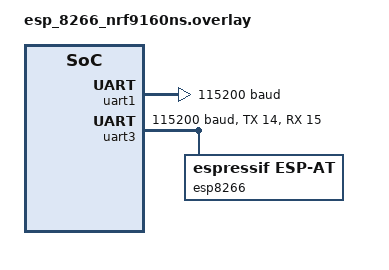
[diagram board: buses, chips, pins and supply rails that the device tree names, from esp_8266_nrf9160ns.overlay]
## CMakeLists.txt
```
#
# Copyright (c) 2020 Nordic Semiconductor
#
# SPDX-License-Identifier: LicenseRef-Nordic-5-Clause
#

cmake_minimum_required(VERSION 3.20.0)

find_package(Zephyr REQUIRED HINTS $ENV{ZEPHYR_BASE})
project(MOSH)
target_include_directories(app PRIVATE
  ${CMAKE_CURRENT_SOURCE_DIR}/src
  ${CMAKE_CURRENT_SOURCE_DIR}/iperf
  ${CMAKE_CURRENT_SOURCE_DIR}/ping
  ${CMAKE_CURRENT_SOURCE_DIR}/utils)

target_sources(app PRIVATE src/main.c)
target_sources(app PRIVATE src/shell.c)
target_sources(app PRIVATE src/at/at_shell.c)

add_subdirectory(src/print)
add_subdirectory(src/utils)
add_subdirectory(src/uart)
add_subdirectory_ifdef(CONFIG_MOSH_WORKER_THREADS src/th)
add_subdirectory_ifdef(CONFIG_MOSH_SOCK src/sock)
add_subdirectory_ifdef(CONFIG_MOSH_LINK src/link)
add_subdirectory_ifdef(CONFIG_MOSH_PING src/ping)
add_subdirectory_ifdef(CONFIG_MOSH_GNSS src/gnss)
add_subdirectory_ifdef(CONFIG_MOSH_SMS src/sms)
add_subdirectory_ifdef(CONFIG_MOSH_LOCATION src/location)
add_subdirectory_ifdef(CONFIG_MOSH_PPP src/ppp)
add_subdirectory_ifdef(CONFIG_MOSH_FOTA src/fota)
add_subdirectory_ifdef(CONFIG_MOSH_REST src/rest)
add_subdirectory_ifdef(CONFIG_MOSH_CLOUD src/cloud)
```

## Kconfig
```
#
# Copyright (c) 2020 Nordic Semiconductor ASA
#
# SPDX-License-Identifier: LicenseRef-Nordic-5-Clause
#

source "Kconfig.zephyr"

menu "Nordic Modem Shell config"

config MOSH_IPERF3
	bool "iPerf3"
	default y
	select NRF_IPERF3

config NRF_IPERF3_PROMPTLESS
	bool
	default y

config MOSH_SOCK
	bool "Socket tool"
	default y
	help
	  Socket tool with TCP, UDP, RAW, IPv4, IPv6 and packet socket support.

config MOSH_PING
	bool "ICMP ping"
	default y
	help
	  Ping is a tool for testing the reachability of a host on an IP network.

config MOSH_LINK
	bool "Link control"
	depends on LTE_LINK_CONTROL
	depends on MODEM_INFO
	depends on SETTINGS
	default y
	help
	  Link control changes and queries the state of the LTE connection.

config MOSH_CURL
	bool "cURL"
	default y
	select NRF_CURL

config NRF_CURL_PROMPTLESS
	bool
	default y

config MOSH_GNSS
	bool "GNSS"
	default y
	help
	  GNSS feature for searching the location of the device.

config MOSH_PPP
	bool "PPP"
	help
	  Point-to-Point Protocol for enabling dial-up access to the Internet.

config MOSH_SMS
	bool "SMS"
	default y
	help
	  SMS tool for sending and receiving SMS messages.

config MOSH_LOCATION
	bool "Location"
	default y
	select LOCATION
	help
	  Tool for location queries via location library.

config MOSH_FOTA
	bool "FOTA"
	default y
	help
	  FOTA for performing software updates over-the-air for both modem and application side.

config MOSH_REST
	bool "REST client"
	default y
	select REST_CLIENT
	help
	  REST client for sending and receiving simple REST requests/responses.

config MOSH_CLOUD
	bool "MQTT connection to nRFCloud"
	select NRF_CLOUD_MQTT
	select NRF_CLOUD_CELL_POS if MULTICELL_LOCATION_SERVICE_NRF_CLOUD
	help
	  MQTT connection to nRFCloud.

config MOSH_PRINT_BUFFER_SIZE
	int "Buffer size used when printing modem shell output"
	default 1024
	help
	  If the printed string exceeds this buffer, an error message is printed first and
	  then the requested string cut into the length of this buffer.

if MOSH_IPERF3
menu "MoSH iperf3 command selections"

config MOSH_WORKER_THREADS
	bool "Possibility to run iperf3 instances in separate threads"
	default y

endmenu
endif #MOSH_IPERF3

if MOSH_LINK
menu "MoSH link control selections"

config MOSH_LINK_SETT_NORMAL_MODE_AT_CMD_STR_LEN
	int "Link settings AT command length"
	default 127
	help
	  String length for custom AT commands stored into settings to be used
	  when going to normal mode.

endmenu
endif #MOSH_LINK

choice MOSH_GNSS_ANTENNA
	depends on MOSH_GNSS
	default MOSH_GNSS_ANTENNA_ONBOARD
	prompt "Select which antenna to use for GNSS"
config MOSH_GNSS_ANTENNA_ONBOARD
	bool "Use onboard antenna"
config MOSH_GNSS_ANTENNA_EXTERNAL
	bool "Use external antenna"

endchoice

config MOSH_AT_MAGPIO
	string "AT%XMAGPIO command"
	default "AT\%XMAGPIO=1,0,0,1,1,1574,1577" if BOARD_NRF9160DK_NRF9160_NS
	default "AT\%XMAGPIO=1,1,1,7,1,746,803,2,698,748,2,1710,2200,3,824,894,4,880,960,5,791,849,7,1565,1586" if BOARD_THINGY91_NRF9160_NS
	help
	  Defines what is the AT%XMAGPIO command to be sent to GNSS module. Leave
	  empty if this command should not be sent.

config MOSH_AT_COEX0
	string "AT%XCOEX0 command"
	default "AT\%XCOEX0=1,1,1565,1586" if (BOARD_NRF9160DK_NRF9160_NS || BOARD_THINGY91_NRF9160_NS) && MOSH_GNSS_ANTENNA_ONBOARD
	default "AT\%XCOEX0" if (BOARD_NRF9160DK_NRF9160_NS || BOARD_THINGY91_NRF9160_NS) && MOSH_GNSS_ANTENNA_EXTERNAL
	help
	  Defines what is the AT%XCOEX0 command to be sent to GNSS module. Leave
	  empty if this command should not be sent.

endmenu # Modem Shell
```

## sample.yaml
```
sample:
  name: modem_shell Sample
tests:
  samples.nrf9160.modem_shell:
    build_only: true
    platform_allow: nrf9160dk_nrf9160_ns
    integration_platforms:
      - nrf9160dk_nrf9160_ns
    tags: ci_build
  samples.nrf9160.modem_shell.ppp:
    build_only: true
    platform_allow: nrf9160dk_nrf9160_ns
    integration_platforms:
      - nrf9160dk_nrf9160_ns
    extra_args: OVERLAY_CONFIG=overlay-ppp.conf
                DTC_OVERLAY_FILE="ppp.overlay"
    tags: ci_build
  samples.nrf9160.modem_shell.esp_wifi:
    build_only: true
    platform_allow: nrf9160dk_nrf9160_ns
    integration_platforms:
      - nrf9160dk_nrf9160_ns
    extra_args: OVERLAY_CONFIG=overlay-esp-wifi.conf
                DTC_OVERLAY_FILE="esp_8266_nrf9160ns.overlay"
    tags: ci_build
  samples.nrf9160.modem_shell.pgps:
    build_only: true
    platform_allow: nrf9160dk_nrf9160_ns
    integration_platforms:
      - nrf9160dk_nrf9160_ns
    extra_args: OVERLAY_CONFIG=overlay-pgps.conf
    tags: ci_build
  samples.nrf9160.modem_shell.fota:
    build_only: true
    platform_allow: nrf9160dk_nrf9160_ns
    integration_platforms:
      - nrf9160dk_nrf9160_ns
    extra_args: OVERLAY_CONFIG=overlay-app_fota.conf
    tags: ci_build
  samples.nrf9160.modem_shell.lwm2m:
    build_only: true
    platform_allow: nrf9160dk_nrf9160_ns
    integration_platforms:
      - nrf9160dk_nrf9160_ns
    extra_args: OVERLAY_CONFIG=overlay-lwm2m_carrier.conf
    tags: ci_build
  samples.nrf9160.modem_shell.thingy91:
    build_only: true
    platform_allow: thingy91_nrf9160_ns
    integration_platforms:
      - thingy91_nrf9160_ns
    tags: ci_build
  samples.nrf9160.modem_shell.cloud_mqtt:
    build_only: true
    platform_allow: nrf9160dk_nrf9160_ns
    integration_platforms:
      - nrf9160dk_nrf9160_ns
    extra_args: OVERLAY_CONFIG=overlay-cloud_mqtt.conf
    tags: ci_build
  samples.nrf9160.modem_shell.cloud_mqtt_rest:
    build_only: true
    platform_allow: nrf9160dk_nrf9160_ns
    integration_platforms:
      - nrf9160dk_nrf9160_ns
    extra_args: CONFIG_MOSH_CLOUD=y
                CONFIG_NRF_CLOUD_REST=y
    tags: ci_build
```

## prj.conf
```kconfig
#
# Copyright (c) 2020 Nordic Semiconductor ASA
#
# SPDX-License-Identifier: LicenseRef-Nordic-5-Clause
#
# General config

CONFIG_MOSH_IPERF3=y
CONFIG_MOSH_SOCK=y
CONFIG_MOSH_PING=y
CONFIG_MOSH_CURL=y
CONFIG_MOSH_LINK=y
CONFIG_MOSH_SMS=y
CONFIG_MOSH_GNSS=y
CONFIG_MOSH_LOCATION=y
#CONFIG_MOSH_CLOUD=y

# Uncomment to use external antenna for GNSS
#CONFIG_MOSH_GNSS_ANTENNA_EXTERNAL=y

# Stacks and heaps
CONFIG_MAIN_STACK_SIZE=4096
CONFIG_HEAP_MEM_POOL_SIZE=10240
# System queue is used by LTE connection and many other parts
CONFIG_SYSTEM_WORKQUEUE_STACK_SIZE=8192

# Shell configurations
CONFIG_SHELL=y
CONFIG_SHELL_WILDCARD=n
CONFIG_SHELL_PROMPT_UART="mosh:~$ "
CONFIG_SHELL_ARGC_MAX=40
# Command line buffer is set this large to enable writing of certificates.
CONFIG_SHELL_CMD_BUFF_SIZE=3072
# Shell stack has impact for modem shell application, not CONFIG_MAIN_STACK_SIZE
CONFIG_SHELL_STACK_SIZE=16384
# Enable use of vsnprintfcb() for extending mosh_print() format
CONFIG_CBPRINTF_LIBC_SUBSTS=y

CONFIG_MINIMAL_LIBC=n
CONFIG_NEWLIB_LIBC=y
CONFIG_NEWLIB_LIBC_FLOAT_SCANF=y
CONFIG_NEWLIB_LIBC_FLOAT_PRINTF=y
CONFIG_FPU=y
CONFIG_CJSON_LIB=y

# Getopt
CONFIG_GETOPT_LIB=y

# Device power management
CONFIG_PM_DEVICE=y

# Modem info
CONFIG_MODEM_INFO=y

# Modem key management
CONFIG_MODEM_KEY_MGMT=y

# Network
CONFIG_NETWORKING=y
CONFIG_NET_NATIVE=n
CONFIG_NET_SOCKETS=y
CONFIG_NET_SOCKETS_OFFLOAD=y
CONFIG_NET_SOCKETS_POSIX_NAMES=n

CONFIG_POSIX_API=y
CONFIG_PTHREAD_IPC=n # There are issues with posix api if this is set
CONFIG_POSIX_MAX_FDS=10
# Need to be the same as MAX_FDS
CONFIG_NET_SOCKETS_POLL_MAX=10

# Modem library
CONFIG_NRF_MODEM_LIB=y
CONFIG_NRF_MODEM_LIB_SHMEM_TX_SIZE=16384
CONFIG_NRF_MODEM_LIB_SHMEM_RX_SIZE=8192
# Enable modem UART traces
CONFIG_NRF_MODEM_LIB_TRACE_ENABLED=n

# AT monitor library
CONFIG_AT_MONITOR=y

# PDN library
CONFIG_PDN=y
CONFIG_PDN_CONTEXTS_MAX=11

# SMS
CONFIG_SMS=y

# LTE link control
CONFIG_LTE_LINK_CONTROL=y
CONFIG_LTE_NETWORK_MODE_LTE_M=y
CONFIG_LTE_MODE_PREFERENCE_AUTO=y

CONFIG_LTE_AUTO_INIT_AND_CONNECT=n
CONFIG_LTE_NETWORK_USE_FALLBACK=n

#MOSH is having own commands to enable these at runtime:
CONFIG_LTE_LC_MODEM_SLEEP_NOTIFICATIONS=n
CONFIG_LTE_LC_TAU_PRE_WARNING_NOTIFICATIONS=n

#Minimum values for thresholds:
CONFIG_LTE_LC_TAU_PRE_WARNING_THRESHOLD_MS=10240
CONFIG_LTE_LC_MODEM_SLEEP_NOTIFICATIONS_THRESHOLD_MS=10240

# Configurations useful for debugging and development that user can enable when needed
#CONFIG_LTE_LOCK_PLMN=y
#CONFIG_LTE_LOCK_PLMN_STRING="24488"
#CONFIG_LTE_NETWORK_MODE_LTE_M_GPS=y

CONFIG_DATE_TIME=y

# nRF Cloud
# nRF Cloud A-GPS, disable this in case you want to enable SUPL below
CONFIG_NRF_CLOUD_AGPS=y
CONFIG_NRF_CLOUD_REST=y
CONFIG_MODEM_JWT=y
CONFIG_NRF_CLOUD_AGPS_FILTERED_RUNTIME=y
CONFIG_NRF_CLOUD_AGPS_FILTERED=y

# SUPL A-GPS support, needs the nRF9160 SiP SUPL client library from nRF9160 DK product page
#CONFIG_SUPL_CLIENT_LIB=y

# Cellular positioning
CONFIG_MULTICELL_LOCATION=y
CONFIG_LTE_NEIGHBOR_CELLS_MAX=17
CONFIG_MULTICELL_LOCATION_MAX_NEIGHBORS=17

# Cellular positioning services
CONFIG_MULTICELL_LOCATION_SERVICE_NRF_CLOUD=y

#CONFIG_MULTICELL_LOCATION_SERVICE_HERE=y
#CONFIG_MULTICELL_LOCATION_HERE_API_KEY="api key"

#CONFIG_MULTICELL_LOCATION_SERVICE_SKYHOOK=y
#CONFIG_MULTICELL_LOCATION_SKYHOOK_API_KEY="api key"

#CONFIG_MULTICELL_LOCATION_SERVICE_POLTE=y
#CONFIG_MULTICELL_LOCATION_POLTE_CUSTOMER_ID="customer id"
#CONFIG_MULTICELL_LOCATION_POLTE_API_TOKEN="api token"

# Library for buttons and LEDs
CONFIG_DK_LIBRARY=y
CONFIG_DK_LIBRARY_INVERT_LEDS=n

# FOTA
CONFIG_FLASH=y
CONFIG_REBOOT=y
CONFIG_DFU_TARGET=y
CONFIG_FOTA_DOWNLOAD=y
CONFIG_DOWNLOAD_CLIENT=y
# BOOTLOADER_MCUBOOT reduces usable flash size by half so it's disabled by default
# This means application FOTA is disabled. Modem FOTA works without these.
CONFIG_BOOTLOADER_MCUBOOT=n
CONFIG_IMG_MANAGER=n
CONFIG_IMG_ERASE_PROGRESSIVELY=n

# Debugging configurations
CONFIG_FLASH=y
CONFIG_FLASH_MAP=y
CONFIG_MPU_ALLOW_FLASH_WRITE=y
CONFIG_NVS=y
CONFIG_SETTINGS=y
CONFIG_SETTINGS_NVS=y
CONFIG_NVS_LOG_LEVEL_WRN=y

CONFIG_ASSERT=y
CONFIG_LOG=y
CONFIG_DEBUG_INFO=y
CONFIG_LOG_STRDUP_MAX_STRING=94
#CONFIG_DEBUG_OPTIMIZATIONS=y
#CONFIG_NO_OPTIMIZATIONS=y
#CONFIG_FORCE_NO_ASSERT=y
CONFIG_ASSERT_VERBOSE=y
#CONFIG_ASSERT_LEVEL=2
#CONFIG_ASSERT_ON_ERRORS=y
#CONFIG_FAULT_DUMP=2
CONFIG_RESET_ON_FATAL_ERROR=n
CONFIG_EXTRA_EXCEPTION_INFO=y
#CONFIG_WATCHDOG=y
```

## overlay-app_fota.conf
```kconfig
#
# Copyright (c) 2020 Nordic Semiconductor
#
# SPDX-License-Identifier: LicenseRef-Nordic-5-Clause
#

# Some of the MoSh features need to be switched off to free enough flash
CONFIG_MOSH_CURL=n
CONFIG_MOSH_REST=n
CONFIG_MOSH_WORKER_THREADS=n
CONFIG_MOSH_LOCATION=n

CONFIG_BOOTLOADER_MCUBOOT=y
CONFIG_IMG_MANAGER=y
CONFIG_IMG_ERASE_PROGRESSIVELY=y
```

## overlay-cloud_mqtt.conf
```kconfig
#
# Copyright (c) 2021 Nordic Semiconductor
#
# SPDX-License-Identifier: LicenseRef-Nordic-5-Clause
#

# Modem Shell
CONFIG_MOSH_CLOUD=y
CONFIG_MOSH_GNSS=n # GNSS interface assumes REST is enabled but it's disabled below

# nRF Cloud
CONFIG_NRF_CLOUD_REST=n
```

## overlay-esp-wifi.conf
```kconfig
# Need to disable iper3 worker thread support to have more SRAM
CONFIG_MOSH_WORKER_THREADS=n

# Extended memory heap size needed for encoding REST messages (including possible long ssid) to JSON
CONFIG_HEAP_MEM_POOL_SIZE=13312

# ESP 8266 Wi-Fi
CONFIG_WIFI=y
CONFIG_WIFI_OFFLOAD=y

CONFIG_NET_IPV4=y # needed for ESP8266 to compile
CONFIG_NET_NATIVE=y # needed for ESP8266 to compile
CONFIG_NET_SHELL=y
CONFIG_NET_L2_WIFI_SHELL=y

CONFIG_WIFI_ESP_AT=y
CONFIG_WIFI_ESP_AT_SCAN_MAC_ADDRESS=y
CONFIG_WIFI_ESP_AT_SCAN_PASSIVE=n
CONFIG_WIFI_ESP_AT_VERSION_1_7=y
CONFIG_WIFI_ESP_AT_SCAN_RESULT_RSSI_ORDERED=y

CONFIG_LOCATION_METHOD_WIFI=y

CONFIG_LOCATION_METHOD_WIFI_SERVICE_NRF_CLOUD=y

#CONFIG_LOCATION_METHOD_WIFI_SERVICE_HERE=y
#CONFIG_LOCATION_METHOD_WIFI_SERVICE_HERE_API_KEY="Your api key"

#CONFIG_LOCATION_METHOD_WIFI_SERVICE_SKYHOOK=y
#CONFIG_LOCATION_METHOD_WIFI_SERVICE_SKYHOOK_API_KEY="Your api key"
```

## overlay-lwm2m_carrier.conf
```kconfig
#
# Copyright (c) 2020 Nordic Semiconductor
#
# SPDX-License-Identifier: LicenseRef-Nordic-5-Clause
#

CONFIG_LWM2M_CARRIER=y

CONFIG_NRF_MODEM_LIB_SYS_INIT=n

CONFIG_FLASH=y
CONFIG_FLASH_PAGE_LAYOUT=y

CONFIG_MPU_ALLOW_FLASH_WRITE=y

CONFIG_NVS=y
CONFIG_NVS_LOG_LEVEL_OFF=y

CONFIG_DOWNLOAD_CLIENT=y

CONFIG_MODEM_KEY_MGMT=y

CONFIG_REBOOT=y

# Some of the MoSh features need to be switched off to free enough flash
CONFIG_MOSH_REST=n
CONFIG_MOSH_WORKER_THREADS=n

# Also modem shell FOTA support needs to be disabled
CONFIG_MOSH_FOTA=n
CONFIG_BOOTLOADER_MCUBOOT=n
CONFIG_IMG_MANAGER=n
CONFIG_IMG_ERASE_PROGRESSIVELY=n
```

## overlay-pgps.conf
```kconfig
#
# Copyright (c) 2021 Nordic Semiconductor ASA
#
# SPDX-License-Identifier: LicenseRef-Nordic-5-Clause
#

# P-GPS overlay configuration

# P-GPS
CONFIG_NRF_CLOUD_REST=y
CONFIG_NRF_CLOUD_PGPS=y
CONFIG_NRF_CLOUD_PGPS_REPLACEMENT_THRESHOLD=4

# Storage for P-GPS
CONFIG_STREAM_FLASH=y
CONFIG_FLASH=y
CONFIG_FLASH_PAGE_LAYOUT=y
CONFIG_FLASH_MAP=y
CONFIG_FCB=y
CONFIG_SETTINGS=y
CONFIG_SETTINGS_FCB=y
CONFIG_MPU_ALLOW_FLASH_WRITE=y

# MCUBOOT - for partition containing PM_MCUBOOT_SECONDARY_ADDRESS
CONFIG_BOOTLOADER_MCUBOOT=y
CONFIG_IMG_MANAGER=y
CONFIG_MCUBOOT_IMG_MANAGER=y

# Library that maintains the current date and UTC time
CONFIG_DATE_TIME=y

# Modem JWT library
CONFIG_MODEM_JWT=y

# Download client library stack size needs to be increased with P-GPS
CONFIG_DOWNLOAD_CLIENT_STACK_SIZE=1280

# Disable other features to make the application fit onto flash
CONFIG_MOSH_IPERF3=n
CONFIG_MOSH_CURL=n
```

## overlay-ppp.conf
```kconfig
#
# Copyright (c) 2020 Nordic Semiconductor
#
# SPDX-License-Identifier: LicenseRef-Nordic-5-Clause
#

# Enable PPP MoSH support:
CONFIG_MOSH_PPP=y
CONFIG_MOSH_IPERF3=y
CONFIG_MOSH_WORKER_THREADS=n
CONFIG_MOSH_SOCK=n
CONFIG_MOSH_PING=y
CONFIG_MOSH_CURL=n
CONFIG_MOSH_LINK=y
CONFIG_MOSH_GNSS=n
CONFIG_MOSH_SMS=n
CONFIG_MOSH_LOCATION=n
CONFIG_MOSH_REST=n
CONFIG_DATE_TIME=n
CONFIG_SMS=n

# UARTs are switched
CONFIG_NET_PPP_UART_NAME="UART_0"

# Enable net shell commands
CONFIG_NET_SHELL=y
CONFIG_NET_STATISTICS_PPP=y
CONFIG_NET_STATISTICS_USER_API=y

# Enable needed stuff from native net stack
CONFIG_NET_NATIVE=y
CONFIG_NET_STATISTICS=y
CONFIG_NET_STATISTICS_PPP=y
CONFIG_NET_STATISTICS_IPV4=n
CONFIG_NET_STATISTICS_ICMP=n
CONFIG_NET_STATISTICS_UDP=n

CONFIG_NET_LOG=y
CONFIG_NET_CONFIG_AUTO_INIT=y

CONFIG_NET_SOCKETS=y
CONFIG_NET_SOCKETS_PACKET=y
CONFIG_NET_SOCKETS_PACKET_DGRAM=n

CONFIG_NET_IF_MAX_IPV4_COUNT=2
CONFIG_NET_IF_MAX_IPV6_COUNT=2

CONFIG_NET_IPV4=y
CONFIG_NET_IPV6=y

CONFIG_NET_IP_ADDR_CHECK=n

CONFIG_NET_DRIVERS=y

# Default PPP net_if
CONFIG_NET_DEFAULT_IF_PPP=y
CONFIG_PPP_NET_IF_NO_AUTO_START=y

# Asynch UART API used for PPP
CONFIG_SERIAL=y

CONFIG_UART_ASYNC_API=y
CONFIG_UART_LINE_CTRL=y

CONFIG_UART_0_INTERRUPT_DRIVEN=n
CONFIG_UART_0_ASYNC=y
CONFIG_UART_0_NRF_HW_ASYNC=y
CONFIG_UART_0_NRF_HW_ASYNC_TIMER=1
#CONFIG_UART_0_NRF_ASYNC_LOW_POWER=y

CONFIG_NET_PPP_UART_BUF_LEN=2048
CONFIG_NET_PPP_ASYNC_UART_TX_BUF_LEN=4096

#CONFIG_NET_PPP_RX_PRIORITY=15
CONFIG_NET_PPP_DRV_NAME="ppp"
CONFIG_NET_PPP_RINGBUF_SIZE=4096
CONFIG_NET_PPP_RX_STACK_SIZE=2048
CONFIG_NET_PPP_VERIFY_FCS=n

# UART PPP driver
CONFIG_NET_PPP=y
CONFIG_NET_PPP_ASYNC_UART=y

# L2 protocol configs
CONFIG_NET_L2_PPP=y
CONFIG_NET_L2_PPP_MGMT=y
#CONFIG_NET_L2_PPP_DELAY_STARTUP_MS=5000

CONFIG_NET_L2_PPP_OPTION_MRU=y
CONFIG_NET_L2_PPP_OPTION_SERVE_IP=y
CONFIG_NET_L2_PPP_OPTION_SERVE_DNS=y

# Windows support
CONFIG_PPP_CLIENT_CLIENTSERVER=y

# Default PPP MRU option config
CONFIG_NET_PPP_MTU_MRU=1280

# Network buffers
CONFIG_NET_BUF=y
CONFIG_NET_BUF_DATA_SIZE=128
CONFIG_NET_BUF_POOL_USAGE=y

CONFIG_NET_PKT_RX_COUNT=44
CONFIG_NET_BUF_RX_COUNT=88

CONFIG_NET_PKT_TX_COUNT=44
CONFIG_NET_BUF_TX_COUNT=88

CONFIG_NET_TC_RX_COUNT=0

# UART traces cannot be enabled
CONFIG_NRF_MODEM_LIB_TRACE_ENABLED=n

# Debug options
CONFIG_NET_PPP_LOG_LEVEL_WRN=y
CONFIG_NET_L2_PPP_LOG_LEVEL_WRN=y
CONFIG_NET_CORE_LOG_LEVEL_WRN=y
CONFIG_NET_IF_LOG_LEVEL_WRN=y

CONFIG_NET_PKT_LOG_LEVEL_WRN=y
CONFIG_NET_DEBUG_NET_PKT_ALLOC=y

CONFIG_NET_CONTEXT_LOG_LEVEL_WRN=y
CONFIG_UART_CONSOLE_LOG_LEVEL_WRN=y

CONFIG_NET_BUF_LOG_LEVEL_OFF=y

CONFIG_NET_CONN_LOG_LEVEL_WRN=y
CONFIG_NET_BUF_WARN_ALLOC_INTERVAL=0

CONFIG_ASSERT=y
CONFIG_RESET_ON_FATAL_ERROR=n
CONFIG_LOG_PROCESS_THREAD_STACK_SIZE=4096
```

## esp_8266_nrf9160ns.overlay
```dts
/* Copyright (c) 2021 Nordic Semiconductor ASA
 *
 * SPDX-License-Identifier: LicenseRef-Nordic-5-Clause
 */

 /*
  * DTS overlay to be used when connecting nRF9160 DK with ESP8266-01 using
  * the esp_at driver.
  *
  * https://en.wikipedia.org/wiki/ESP8266
  *
  * Wiring:
  * - Slide (SW9) to enable 3V mode.
  * - ESP8266 RX → DK P0.14 (TX)
  * - ESP8266 TX → DK P0.15 (RX)
  * - ESP8266 VCC → DK VDD
  * - ESP8266 CH_PD → DK VDD
  * - ESP8266 GND → DK GND.
  *
  * Compilation with SW overlay:
  * 'west build -p -b nrf9160dk_nrf9160_ns -- -DDTC_OVERLAY_FILE=esp_8266_nrf9160ns.overlay -DOVERLAY_CONFIG="overlay-esp-wifi.conf"'
  */

&uart1 {
	status = "okay";
	current-speed = <115200>;
	rts-pin = <0xffffffff>;
	cts-pin = <0xffffffff>;
};

&uart3 {
	status = "okay";
	current-speed = <115200>;
	tx-pin = < 0xe >;
	rx-pin = < 0xf >;
	rts-pin = <0xffffffff>;
	cts-pin = <0xffffffff>;

	esp8266 {
		compatible = "espressif,esp-at";
		label = "esp8266";
		status = "okay";
	};
};
```

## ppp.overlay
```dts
/*
 * Copyright (c) 2021 Nordic Semiconductor ASA
 *
 * SPDX-License-Identifier: LicenseRef-Nordic-5-Clause
 */
&uart0 {
	compatible = "nordic,nrf-uarte";
	status = "okay";
	/delete-property/ cts-pull-up;
	hw-flow-control;
};

/* Enable uart1. Note: cannot be used with T-FM.
 * See: https://github.com/zephyrproject-rtos/zephyr/commit/0856e4ba518d32576ed1800a4b70a33617196474
 */
&uart1 {
	status = "okay";
};

/ {
	chosen {
		zephyr,console = &uart1;
		zephyr,shell-uart = &uart1;
	};
};
```

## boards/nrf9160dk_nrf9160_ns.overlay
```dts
/*
 * Copyright (c) 2021 Nordic Semiconductor ASA
 *
 * SPDX-License-Identifier: LicenseRef-Nordic-5-Clause
 */

/* Enable uart1. Note: cannot be used with T-FM.
 * See: https://github.com/zephyrproject-rtos/zephyr/commit/0856e4ba518d32576ed1800a4b70a33617196474
 */
&uart1 {
	status = "okay";
};
```

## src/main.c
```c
/*
 * Copyright (c) 2020 Nordic Semiconductor ASA
 *
 * SPDX-License-Identifier: LicenseRef-Nordic-5-Clause
 */

#include <stdio.h>
#include <string.h>

#include <zephyr.h>
#include <init.h>
#include <nrf_modem.h>

#include <sys/types.h>
#include <logging/log_ctrl.h>
#include <sys/reboot.h>
#include <dfu/mcuboot.h>

#include <shell/shell.h>
#include <shell/shell_uart.h>

#include <modem/nrf_modem_lib.h>
#include <modem/at_monitor.h>
#include <modem/modem_info.h>
#include <modem/lte_lc.h>

#include <dk_buttons_and_leds.h>
#include "uart/uart_shell.h"

#if defined(CONFIG_MOSH_PPP)
#include "ppp_ctrl.h"
#endif

#if defined(CONFIG_MOSH_LINK)
#include "link.h"
#endif

#if defined(CONFIG_MOSH_GNSS)
#include "gnss.h"
#endif

#if defined(CONFIG_MOSH_FOTA)
#include "fota.h"
#endif
#if defined(CONFIG_MOSH_WORKER_THREADS)
#include "th/th_ctrl.h"
#endif
#include "mosh_defines.h"
#include "mosh_print.h"

#if defined(CONFIG_MOSH_LOCATION)
#include "location_shell.h"
#endif

/* Global variables */
struct modem_param_info modem_param;
struct k_poll_signal mosh_signal;

K_SEM_DEFINE(nrf_modem_lib_initialized, 0, 1);

static void mosh_print_version_info(void)
{
#if defined(APP_VERSION)
	printk("\nMOSH version:       %s", STRINGIFY(APP_VERSION));
#else
	printk("\nMOSH version:       unknown");
#endif

#if defined(BUILD_ID)
	printk("\nMOSH build id:      v%s", STRINGIFY(BUILD_ID));
#else
	printk("\nMOSH build id:      custom");
#endif

#if defined(BUILD_VARIANT)
#if defined(BRANCH_NAME)
	printk("\nMOSH build variant: %s/%s\n\n", STRINGIFY(BRANCH_NAME), STRINGIFY(BUILD_VARIANT));
#else
	printk("\nMOSH build variant: %s\n\n", STRINGIFY(BUILD_VARIANT));
#endif
#else
	printk("\nMOSH build variant: dev\n\n");
#endif
}

static void button_handler(uint32_t button_states, uint32_t has_changed)
{
	if (has_changed & button_states & DK_BTN1_MSK) {
		mosh_print("Button 1 pressed - raising a kill signal");
		k_poll_signal_raise(&mosh_signal, MOSH_SIGNAL_KILL);
#if defined(CONFIG_MOSH_WORKER_THREADS)
		th_ctrl_kill_em_all();
#endif
	} else if (has_changed & ~button_states & DK_BTN1_MSK) {
		mosh_print("Button 1 released - resetting a kill signal");
		k_poll_signal_reset(&mosh_signal);
	}

	if (has_changed & button_states & DK_BTN2_MSK) {
		mosh_print("Button 2 pressed, toggling UART power state");
		uart_toggle_power_state();
	}
}

void main(void)
{
	int err;
	const struct shell *shell = shell_backend_uart_get_ptr();

	mosh_print_version_info();

#if !defined(CONFIG_LWM2M_CARRIER)
	/* Get Modem library initialization return value. */
	err = nrf_modem_lib_get_init_ret();
	switch (err) {
	case 0:
		/* Modem library was initialized successfully. */
		break;
	case MODEM_DFU_RESULT_OK:
		printk("Modem firmware update successful!\n");
		printk("Modem will run the new firmware after reboot\n");
		sys_reboot(SYS_REBOOT_WARM);
		return;
	case MODEM_DFU_RESULT_UUID_ERROR:
	case MODEM_DFU_RESULT_AUTH_ERROR:
		printk("Modem firmware update failed!\n");
		printk("Modem will run non-updated firmware on reboot.\n");
		sys_reboot(SYS_REBOOT_WARM);
		return;
	case MODEM_DFU_RESULT_HARDWARE_ERROR:
	case MODEM_DFU_RESULT_INTERNAL_ERROR:
		printk("Modem firmware update failed!\n");
		printk("Fatal error.\n");
		sys_reboot(SYS_REBOOT_WARM);
		return;
	default:
		/* Modem library initialization failed. */
		printk("Could not initialize modemlib.\n");
		printk("Fatal error.\n");
		return;
	}

	lte_lc_init();
#else
	/* Wait until modemlib has been initialized. */
	k_sem_take(&nrf_modem_lib_initialized, K_FOREVER);

#endif
#if defined(CONFIG_MOSH_PPP)
	ppp_ctrl_init();
#endif
#if defined(CONFIG_MOSH_WORKER_THREADS)
	th_ctrl_init();
#endif
#if defined(CONFIG_MOSH_GNSS)
	gnss_configure_lna();
#endif
#if defined(CONFIG_MOSH_FOTA)
	err = fota_init();
	if (err) {
		printk("Could not initialize FOTA: %d\n", err);
	}
#endif

#if defined(CONFIG_MOSH_LOCATION)
	/* Location library should be initialized before LTE normal mode */
	location_ctrl_init();
#endif
#if defined(CONFIG_LTE_LINK_CONTROL) && defined(CONFIG_MOSH_LINK)
	link_init();
#endif

#if defined(CONFIG_MODEM_INFO)
	err = modem_info_init();
	if (err) {
		printk("Modem info could not be established: %d\n", err);
		return;
	}
	modem_info_params_init(&modem_param);
#endif

	err = dk_buttons_init(button_handler);
	if (err) {
		printk("Failed to initialize DK buttons library, error: %d", err);
	}

	/* Application started successfully, mark image as OK to prevent
	 * revert at next reboot.
	 */
#if defined(CONFIG_BOOTLOADER_MCUBOOT)
	boot_write_img_confirmed();
#endif
	k_poll_signal_init(&mosh_signal);

	err = dk_leds_init();
	if (err) {
		printk("Cannot initialize LEDs (err: %d)", err);
	}

	/* Resize terminal width and height of the shell to have proper command editing. */
	shell_execute_cmd(shell, "resize");
	/* Run empty command because otherwise "resize" would be set to the command line. */
	shell_execute_cmd(shell, "");
}
```

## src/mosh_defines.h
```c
/*
 * Copyright (c) 2020 Nordic Semiconductor ASA
 *
 * SPDX-License-Identifier: LicenseRef-Nordic-5-Clause
 */

#ifndef MOSH_DEFINES_H
#define MOSH_DEFINES_H

#define MOSH_EMPTY_STRING "\0"

#define MOSH_APN_STR_MAX_LEN (64)
#define MOSH_ARG_NOT_SET -6

#define MOSH_STRING_NULL_CHECK(string) \
	((string != NULL) ? string : MOSH_EMPTY_STRING)

#define MOSH_AT_CMD_RESPONSE_MAX_LEN 2700

enum mosh_signals {
	MOSH_SIGNAL_KILL,
};

#endif /* MOSH_DEFINES_H */
```

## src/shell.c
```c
/*
 * Copyright (c) 2020 Nordic Semiconductor ASA
 *
 * SPDX-License-Identifier: LicenseRef-Nordic-5-Clause
 */

#include <stdlib.h>

#include <zephyr.h>
#include <device.h>
#include <shell/shell.h>
#include <modem/lte_lc.h>

#if defined(CONFIG_LWM2M_CARRIER)
#include <lwm2m_carrier.h>
#endif
#include "at/at_shell.h"
#if defined(CONFIG_MOSH_PING)
#include "ping/icmp_ping_shell.h"
#endif
#if defined(CONFIG_MOSH_SOCK)
#include "sock/sock_shell.h"
#endif
#if defined(CONFIG_MOSH_IPERF3)
#include <posix/sys/select.h>
#include <iperf_api.h>
#endif
#if defined(CONFIG_MOSH_LINK)
#include "link_shell.h"
#endif
#if defined(CONFIG_MOSH_CURL)
#include <nrf_curl.h>
#endif
#if defined(CONFIG_MOSH_SMS)
#include "sms/sms_shell.h"
#endif
#if defined(CONFIG_MOSH_LOCATION)
#include "location_shell.h"
#endif
#if defined(CONFIG_MOSH_PPP)
#include "ppp/ppp_shell.h"
#endif
#if defined(CONFIG_MOSH_REST)
#include "rest_shell.h"
#endif
#include "uart/uart_shell.h"
#include "mosh_print.h"

extern struct k_sem nrf_modem_lib_initialized;
extern struct k_poll_signal mosh_signal;
/**
 * @brief Overriding modem library error handler.
 */
void nrf_modem_recoverable_error_handler(uint32_t error)
{
	mosh_error("modem lib recoverable error: %u\n", error);
}

#if defined(CONFIG_LWM2M_CARRIER)
void lwm2m_print_err(const lwm2m_carrier_event_t *evt)
{
	const lwm2m_carrier_event_error_t *err = (lwm2m_carrier_event_error_t *)evt->data;

	static const char * const strerr[] = {
		[LWM2M_CARRIER_ERROR_NO_ERROR] =
			"No error",
		[LWM2M_CARRIER_ERROR_BOOTSTRAP] =
			"Bootstrap error",
		[LWM2M_CARRIER_ERROR_CONNECT_FAIL] =
			"Failed to connect to the LTE network",
		[LWM2M_CARRIER_ERROR_DISCONNECT_FAIL] =
			"Failed to disconnect from the LTE network",
		[LWM2M_CARRIER_ERROR_FOTA_PKG] =
			"Package refused from modem",
		[LWM2M_CARRIER_ERROR_FOTA_PROTO] =
			"Protocol error",
		[LWM2M_CARRIER_ERROR_FOTA_CONN] =
			"Connection to remote server failed",
		[LWM2M_CARRIER_ERROR_FOTA_CONN_LOST] =
			"Connection to remote server lost",
		[LWM2M_CARRIER_ERROR_FOTA_FAIL] =
			"Modem firmware update failed",
	};

	mosh_error("%s, reason %d\n", strerr[err->code], err->value);
}

void lwm2m_print_deferred(const lwm2m_carrier_event_t *evt)
{
	const lwm2m_carrier_event_deferred_t *def = (lwm2m_carrier_event_deferred_t *)evt->data;

	static const char *const strdef[] = {
		[LWM2M_CARRIER_DEFERRED_NO_REASON] =
			"No reason given",
		[LWM2M_CARRIER_DEFERRED_PDN_ACTIVATE] =
			"Failed to activate PDN",
		[LWM2M_CARRIER_DEFERRED_BOOTSTRAP_NO_ROUTE] =
			"No route to bootstrap server",
		[LWM2M_CARRIER_DEFERRED_BOOTSTRAP_CONNECT] =
			"Failed to connect to bootstrap server",
		[LWM2M_CARRIER_DEFERRED_BOOTSTRAP_SEQUENCE] =
			"Bootstrap sequence not completed",
		[LWM2M_CARRIER_DEFERRED_SERVER_NO_ROUTE] =
			"No route to server",
		[LWM2M_CARRIER_DEFERRED_SERVER_CONNECT] =
			"Failed to connect to server",
		[LWM2M_CARRIER_DEFERRED_SERVER_REGISTRATION] =
			"Server registration sequence not completed",
		[LWM2M_CARRIER_DEFERRED_SERVICE_UNAVAILABLE] =
			"Server in maintenance mode",
		[LWM2M_CARRIER_DEFERRED_SIM_MSISDN] =
			"Waiting for SIM MSISDN",
	};

	mosh_error("Reason: %s, timeout: %d seconds\n", strdef[def->reason], def->timeout);
}

int lwm2m_carrier_event_handler(const lwm2m_carrier_event_t *event)
{
	switch (event->type) {
	case LWM2M_CARRIER_EVENT_MODEM_INIT:
		mosh_print("LwM2M carrier event: modem lib initialized");
		break;
	case LWM2M_CARRIER_EVENT_CONNECTING:
		mosh_print("LwM2M carrier event: connecting");
		k_sem_give(&nrf_modem_lib_initialized);
		break;
	case LWM2M_CARRIER_EVENT_CONNECTED:
		mosh_print("LwM2M carrier event: connected");
		break;
	case LWM2M_CARRIER_EVENT_DISCONNECTING:
		mosh_print("LwM2M carrier event: disconnecting");
		break;
	case LWM2M_CARRIER_EVENT_DISCONNECTED:
		mosh_print("LwM2M carrier event: disconnected");
		break;
	case LWM2M_CARRIER_EVENT_BOOTSTRAPPED:
		mosh_print("LwM2M carrier event: bootstrapped");
		break;
	case LWM2M_CARRIER_EVENT_LTE_READY:
		mosh_print("LwM2M carrier event: LTE ready");
		break;
	case LWM2M_CARRIER_EVENT_REGISTERED:
		mosh_print("LwM2M carrier event: registered");
		break;
	case LWM2M_CARRIER_EVENT_DEFERRED:
		mosh_print("LwM2M carrier event: deferred");
		lwm2m_print_deferred(event);
		break;
	case LWM2M_CARRIER_EVENT_FOTA_START:
		mosh_print("LwM2M carrier event: fota start");
		break;
	case LWM2M_CARRIER_EVENT_REBOOT:
		mosh_print("LwM2M carrier event: reboot");
		break;
	case LWM2M_CARRIER_EVENT_ERROR:
		mosh_print("LwM2M carrier event: error");
		lwm2m_print_err(event);
		break;
	}

	return 0;
}
#endif

#if defined(CONFIG_MOSH_IPERF3)
static int cmd_iperf3(const struct shell *shell, size_t argc, char **argv)
{
	(void)iperf_main(argc, argv, NULL, 0, &mosh_signal);
	return 0;
}
#endif

#if defined(CONFIG_MOSH_CURL)
static int cmd_curl(const struct shell *shell, size_t argc, char **argv)
{
	(void)curl_tool_main(argc, argv, &mosh_signal);
	mosh_print("\nDONE");
	return 0;
}
SHELL_CMD_REGISTER(curl, NULL, "For curl usage, just type \"curl --manual\"", cmd_curl);
#endif

SHELL_CMD_REGISTER(at, NULL, "Execute an AT command.", at_shell);

#if defined(CONFIG_MOSH_SOCK)
SHELL_CMD_REGISTER(sock, NULL,
	"Commands for socket operations such as connect and send.",
	sock_shell);
#endif

#if defined(CONFIG_MOSH_PING)
SHELL_CMD_REGISTER(ping, NULL, "For ping usage, just type \"ping\"", icmp_ping_shell);
#endif

#if defined(CONFIG_MOSH_LINK)
SHELL_CMD_REGISTER(link, NULL,
	"Commands for LTE link controlling and status information.",
	link_shell);
#endif

#if defined(CONFIG_MOSH_IPERF3)
SHELL_CMD_REGISTER(iperf3, NULL, "For iperf3 usage, just type \"iperf3 --manual\"", cmd_iperf3);
#endif

#if defined(CONFIG_MOSH_SMS)
SHELL_CMD_REGISTER(sms, NULL, "Commands for sending and receiving SMS.", sms_shell);
#endif

#if defined(CONFIG_MOSH_LOCATION)
SHELL_CMD_REGISTER(location, NULL,
	"Commands for using the Location library.",
	location_shell);
#endif

#if defined(CONFIG_MOSH_PPP)
SHELL_CMD_REGISTER(ppp, NULL,
	"Commands for controlling PPP.",
	ppp_shell_cmd);
#endif

#if defined(CONFIG_MOSH_REST)
SHELL_CMD_REGISTER(rest, NULL,
	"REST client.",
	rest_shell);
#endif
```
